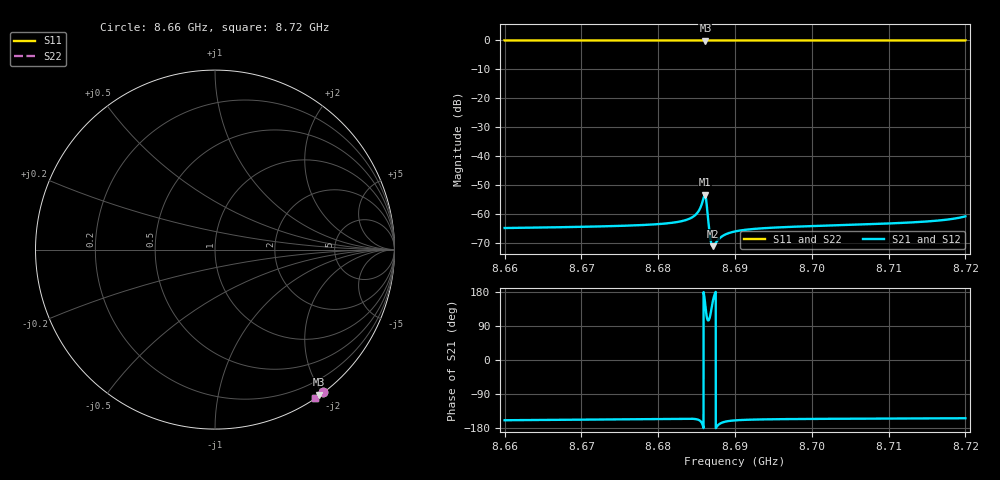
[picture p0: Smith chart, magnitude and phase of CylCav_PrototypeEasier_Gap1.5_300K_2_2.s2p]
! TOUCHSTONE file generated by CST MICROWAVE STUDIO
! Date and time: Wed Mar  5 11:39:35 2025
! Project name: CylCav_PrototypeEasier_Gap1.5_300K.cst
! Parameters = {Cond_Cu=5.8e+07; d=200; gap=1.5; lhot1=-3; lhot2=-3; lprobe=7; r=12.75; rblend=2; rblend2=1.5; rin=0.635; rout=2.05; xThick=6.25; yThick=2; zThick=7}
! Header version: 2024
! Port assignment regex: !\s*Touchstone port\s*([0-9]+)\s*=\s*(CST MWS port|CST DES external port|CST DES block port)\s*(.+)\s* \(\"(.*)\"\)(\s*mode\s*([0-9]+))?.*
! Touchstone port assignment:
! Touchstone port 1 = CST MWS port 1 ("")
! Touchstone port 2 = CST MWS port 2 ("")
# GHz S MA R 50
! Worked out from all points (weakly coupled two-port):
!   6001 points, 8.66 GHz to 8.72 GHz, reference 50 ohm
!   highest |S21| = -53.25 dB at 8.68608 GHz (marker M1); lowest = -71.1 dB at 8.68711 GHz (marker M2)
!   lowest |S11| = 0.0 dB at 8.68615 GHz (marker M3), VSWR 357.96, Z = 0.671 - j97.5 ohm
!   |S11| at or under -10 dB: nowhere
!   |S22| runs from 0.0 to 0.0 dB; largest |S21 - S12| = 1e-12
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8.66  0.9963 -53.0  0.0005754 -159.0  0.0005754 -159.0  0.9963 -53.0
8.67  0.9963 -53.5  0.0006033 -157.3  0.0006033 -157.3  0.9963 -53.5
8.68  0.9963 -54.0  0.000672 -155.5  0.000672 -155.5  0.9963 -54.0
8.68272  0.9963 -54.1  0.00074 -154.9  0.00074 -154.9  0.9963 -54.1
8.6843  0.9963 -54.2  0.0008623 -155.0  0.0008623 -155.0  0.9963 -54.2
8.68514  0.9962 -54.3  0.001069 -157.1  0.001069 -157.1  0.9962 -54.3
8.68547  0.9961 -54.3  0.001269 -160.7  0.001269 -160.7  0.9961 -54.3
8.68589  0.9954 -54.3  0.001874 -178.8  0.001874 -178.8  0.9954 -54.3
8.68608  0.9945 -54.3  0.002174 154.8  0.002174 154.8  0.9946 -54.3
8.68615  0.9944 -54.3  0.002096 141.3  0.002096 141.3  0.9944 -54.3
8.68633  0.9951 -54.3  0.001393 113.0  0.001393 113.0  0.9951 -54.2
8.68679  0.9961 -54.3  0.000378 118.9  0.000378 118.9  0.9961 -54.3
8.68695  0.9962 -54.3  0.0002986 136.9  0.0002986 136.9  0.9962 -54.3
8.68711  0.9962 -54.3  0.0002796 154.7  0.0002796 154.7  0.9962 -54.3
8.68731  0.9962 -54.3  0.0002942 170.7  0.0002942 170.7  0.9962 -54.3
8.68848  0.9963 -54.4  0.0004268 -164.1  0.0004268 -164.1  0.9963 -54.4
8.69  0.9963 -54.5  0.0005024 -159.3  0.0005024 -159.3  0.9963 -54.5
8.69334  0.9963 -54.7  0.0005667 -156.9  0.0005667 -156.9  0.9963 -54.6
8.7  0.9963 -55.0  0.0006212 -155.5  0.0006212 -155.5  0.9963 -55.0
8.71  0.9963 -55.5  0.0006891 -154.5  0.0006891 -154.5  0.9963 -55.5
8.71634  0.9963 -55.8  0.0007713 -154.0  0.0007713 -154.0  0.9963 -55.8
8.72  0.9963 -56.0  0.0009156 -153.7  0.0009156 -153.7  0.9963 -56.0
